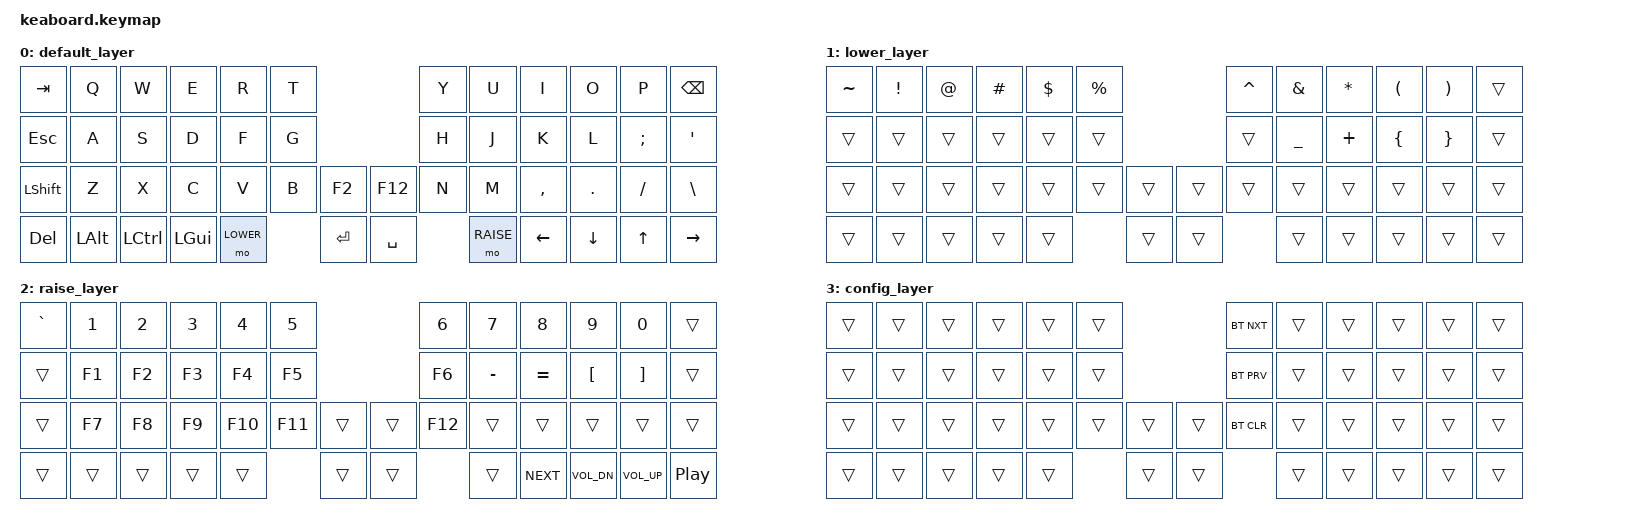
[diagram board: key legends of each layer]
#include <behaviors.dtsi>
#include <dt-bindings/zmk/keys.h>
#include <dt-bindings/zmk/bt.h>

#define DEFAULT 0
#define LOWER  1
#define RAISE  2
#define CONFIG 3

/ {
       conditional_layers {
              compatible = "zmk,conditional-layers";
              tri_layer {
                     if-layers = <1 2>;
                     then-layer = <3>;
              };
       };

       keymap {
              compatible = "zmk,keymap";
 
              default_layer {
 // -------------------------------------------------------------------------------------------------------------------------------------------------
 // |  TAB  |   Q    |   W    |   E    |   R    |   T    |                                    |   Y    |   U    |   I    |   O    |   P    |  BSPC  |
 // |  ESC  |   A    |   S    |   D    |   F    |   G    |                                    |   H    |   J    |   K    |   L    |   ;    |   '    |
 // | SHIFT |   Z    |   X    |   C    |   V    |   B    |  F2   |                    |  F12  |   N    |   M    |   ,    |   .    |   /    |   \    |
 // |  DEL  |  LALT  |  LCTL  |  LGUI  |      LOWER      | ENTER |                    | SPACE | RAISE  |  KANA  |  LEFT  |  DOWN  |  UP    |  RIGHT |
                     bindings = <
       &kp TAB     &kp Q      &kp W      &kp E      &kp R       &kp T                                &kp Y   &kp U       &kp I       &kp O        &kp P       &kp BSPC
       &kp ESC     &kp A      &kp S      &kp D      &kp F       &kp G                                &kp H   &kp J       &kp K       &kp L        &kp SEMI    &kp SQT
       &kp LSHFT   &kp Z      &kp X      &kp C      &kp V       &kp B   &kp F2           &kp F12     &kp N   &kp M       &kp COMMA   &kp PERIOD   &kp SLASH   &kp BSLH
       &kp DEL     &kp LALT   &kp LCTL   &kp LGUI   &mo LOWER           &kp ENTER        &kp SPACE           &mo RAISE   &kp LEFT    &kp DOWN     &kp UP      &kp RIGHT
                     >;
              };

              lower_layer {
 // ------------------------------------------------------------------------------------------------------------------------
 // |  ~   |  !   |  @   |  #   |  $   |  %   |                                  |  ^   |  &   |  *   |  (   |  )   |      |
 // |      |      |      |      |      |      |                                  |      |  _   |  +   |  {   |  }   |      |
 // |      |      |      |      |      |      |      |                    |      |      |      |      |      |      |      |
 // |      |      |      |      |      |      |      |                    |      |      |      |      |      |      |      |
                     bindings = <
       &kp TILDE   &kp EXCL   &kp AT   &kp HASH   &kp DLLR   &kp PRCNT                            &kp CARET   &kp AMPS    &kp ASTRK   &kp LPAR   &kp RPAR   &trans
       &trans      &trans     &trans   &trans     &trans     &trans                               &trans      &kp UNDER   &kp PLUS    &kp LBRC   &kp RBRC   &trans
       &trans      &trans     &trans   &trans     &trans     &trans      &trans          &trans   &trans      &trans      &trans      &trans     &trans     &trans
       &trans      &trans     &trans   &trans     &trans                 &trans          &trans               &trans      &trans      &trans     &trans     &trans
                     >;
              };

              raise_layer {
 // --------------------------------------------------------------------------------------------------------------------------------------
 // |   `   |   1   |   2   |   3   |   4   |   5   |                                    |   6   |   7   |   8   |   9   |   0   |       |
 // |       |  F1   |  F2   |  F3   |  F4   |  F5   |                                    |  F6   |   -   |   =   |   [   |   ]   |       |
 // |       |  F7   |  F8   |  F9   |  F10  |  F11  |       |                    |       |  F12  |       |       |       |       |       |
 // |       |       |       |       |       |       |       |                    |       |       |       | NEXT  | VOL-  | VOL+  | PLAY  |
                     bindings = <
       &kp GRAVE   &kp N1   &kp N2   &kp N3   &kp N4    &kp N5                           &kp N6    &kp N7      &kp N8       &kp N9         &kp N0         &trans
       &trans      &kp F1   &kp F2   &kp F3   &kp F4    &kp F5                           &kp F6    &kp MINUS   &kp EQUAL    &kp LBKT       &kp RBKT       &trans
       &trans      &kp F7   &kp F8   &kp F9   &kp F10   &kp F11   &trans        &trans   &kp F12   &trans      &trans       &trans         &trans         &trans
       &trans      &trans   &trans   &trans   &trans              &trans        &trans             &trans      &kp C_NEXT   &kp C_VOL_DN   &kp C_VOL_UP   &kp C_PP
                     >;
              };

              config_layer {
 // ---------------------------------------------------------------------------------------------------------------------------------------
 // |       |       |       |       |       |       |                                    | BT_NXT |       |       |       |       |       |
 // |       |       |       |       |       |       |                                    | BT_PRV |       |       |       |       |       |
 // |       |       |       |       |       |       |       |                    |       | BT_CLR |       |       |       |       |       |
 // |       |       |       |       |       |       |       |                    |       |        |       |       |       |       |       |
                     bindings = <
       &trans   &trans   &trans   &trans   &trans   &trans                            &bt BT_NXT   &trans   &trans   &trans   &trans   &trans
       &trans   &trans   &trans   &trans   &trans   &trans                            &bt BT_PRV   &trans   &trans   &trans   &trans   &trans
       &trans   &trans   &trans   &trans   &trans   &trans   &trans          &trans   &bt BT_CLR   &trans   &trans   &trans   &trans   &trans
       &trans   &trans   &trans   &trans   &trans            &trans          &trans                &trans   &trans   &trans   &trans   &trans
                     >;
              };
       };
};
